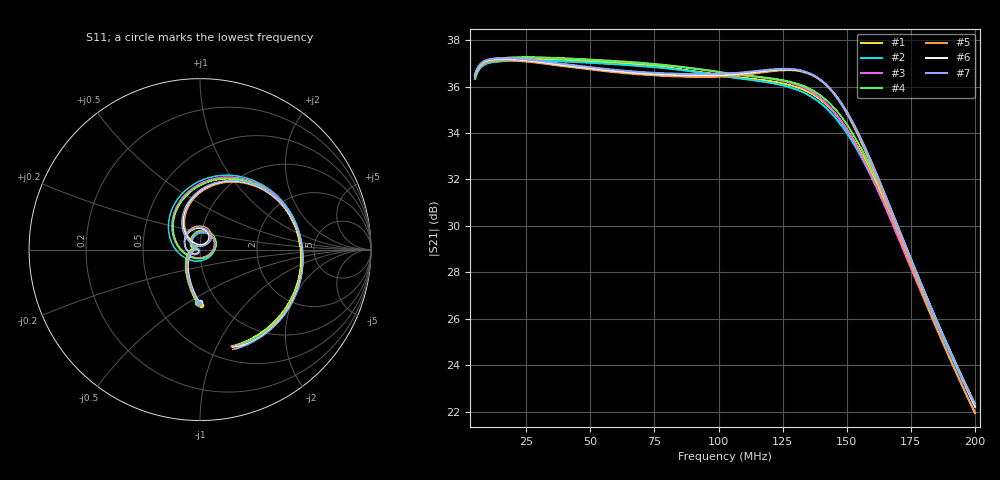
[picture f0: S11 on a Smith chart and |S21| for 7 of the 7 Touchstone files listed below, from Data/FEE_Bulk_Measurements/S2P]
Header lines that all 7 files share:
# Hz S DB R 50
! CMT, M5045, 22160017, 22.3.3/2
! Data: Format (Calibration Info)
! Freq	S11:dB/Ang(F2)	S21:dB/Ang(F2)	S12:dB/Ang(F2)	S22:dB/Ang(F2)
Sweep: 5 MHz to 200 MHz
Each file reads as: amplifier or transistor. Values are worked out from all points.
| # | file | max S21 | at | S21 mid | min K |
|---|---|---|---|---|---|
| 1 | SN0273-A_08Oct2022.1714.s2p | 37.2 dB | 26.25 MHz | 36.5 dB at 102.5 MHz | 1.79 |
| 2 | SN0715-A_08Oct2022.1821.s2p | 37.1 dB | 25.67 MHz | 36.4 dB at 102.5 MHz | 1.80 |
| 3 | SN0813-A_08Oct2022.1726.s2p | 37.3 dB | 24.7 MHz | 36.6 dB at 102.5 MHz | 1.79 |
| 4 | SN0820-A_08Oct2022.1759.s2p | 37.3 dB | 23.91 MHz | 36.6 dB at 102.5 MHz | 1.79 |
| 5 | SN0856-B_08Oct2022.1739.s2p | 37.1 dB | 15.92 MHz | 36.4 dB at 102.5 MHz | 1.78 |
| 6 | SN0934-B_08Oct2022.1900.s2p | 37.2 dB | 16.31 MHz | 36.5 dB at 102.5 MHz | 1.78 |
| 7 | SN0971-B_08Oct2022.1837.s2p | 37.2 dB | 15.53 MHz | 36.6 dB at 102.5 MHz | 1.77 |
